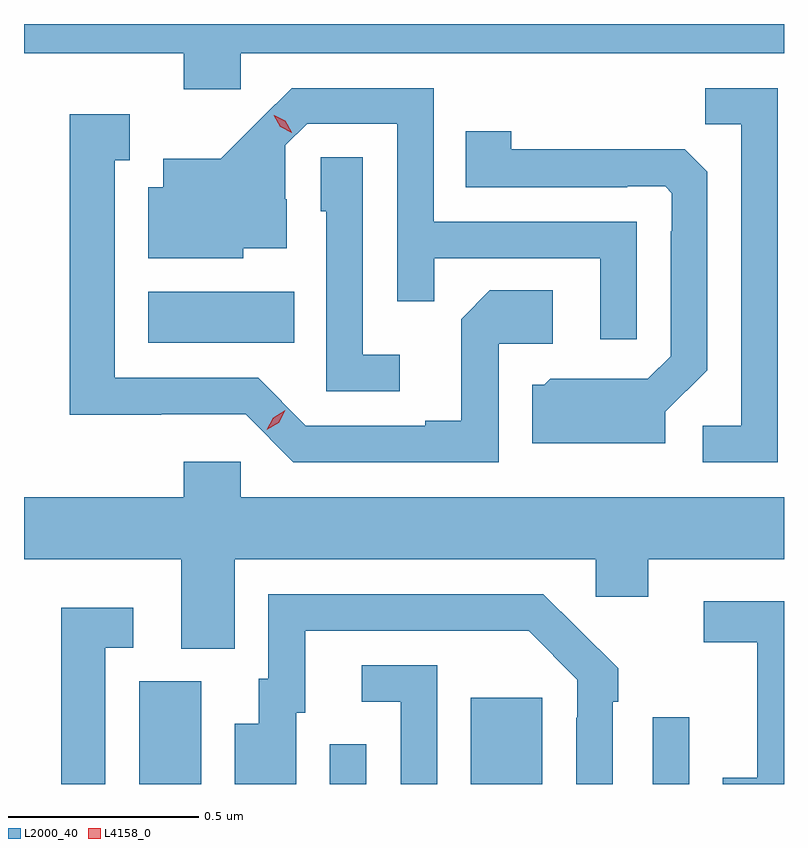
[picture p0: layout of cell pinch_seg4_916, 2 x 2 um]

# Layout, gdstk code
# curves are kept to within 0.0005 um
import gdstk
lib = gdstk.Library(unit=1e-6, precision=1e-09)
def R(c, l, rs):  # rectangles x0, y0, x1, y1
    for r in rs: c.add(gdstk.rectangle(r[:2], r[2:], *l))
def P(c, l, *ps):  # polygons
    for p in ps: c.add(gdstk.Polygon(p, *l))
L2000_40 = (2000, 40)
L4158_0 = (4158, 0)

pinch_seg4_916 = lib.new_cell('pinch_seg4_916')
R(pinch_seg4_916, L2000_40, [(754.508,824.201,754.672,824.472), (755.01,824.201,755.106,824.305), (755.381,824.201,755.569,824.428), (755.859,824.201,755.955,824.377), (754.532,825.362,754.916,825.496)])
P(pinch_seg4_916, L2000_40, [(754.776,826.124),(756.205,826.124),(756.205,826.201),(754.205,826.201),(754.205,826.124),(754.625,826.124),(754.625,826.029),(754.776,826.029)],
  [(756.189,826.032),(755.998,826.032),(755.998,825.937),(756.093,825.937),(756.093,825.144),(755.991,825.144),(755.991,825.048),(756.189,825.048)],
  [(755.817,825.681),(755.283,825.681),(755.283,826.032),(754.91,826.032),(754.723,825.847),(754.571,825.847),(754.571,825.771),(754.532,825.771),(754.532,825.584),(754.782,825.584),(754.782,825.611),(754.897,825.611),(754.897,825.74),(754.893,825.74),(754.893,825.882),(754.95,825.939),(755.187,825.939),(755.187,825.472),(755.285,825.472),(755.285,825.585),(755.721,825.585),(755.721,825.372),(755.817,825.372)],
  [(755.454,825.36),(755.596,825.36),(755.596,825.5),(755.431,825.5),(755.355,825.424),(755.355,825.157),(755.261,825.157),(755.261,825.144),(754.947,825.144),(754.821,825.27),(754.444,825.27),(754.444,825.843),(754.483,825.843),(754.483,825.964),(754.326,825.964),(754.326,825.173),(754.566,825.173),(754.566,825.174),(754.788,825.174),(754.914,825.048),(755.454,825.048)],
  [(755.893,825.18),(756.003,825.29),(756.003,825.812),(755.944,825.871),(755.843,825.871),(755.843,825.872),(755.487,825.872),(755.487,825.919),(755.368,825.919),(755.368,825.771),(755.792,825.771),(755.792,825.774),(755.892,825.774),(755.91,825.756),(755.91,825.656),(755.907,825.656),(755.907,825.327),(755.847,825.267),(755.724,825.267),(755.724,825.268),(755.59,825.268),(755.574,825.252),(755.543,825.252),(755.543,825.098),(755.893,825.098)],
  [(755.194,825.331),(755.097,825.331),(755.097,825.851),(754.986,825.851),(754.986,825.708),(755.001,825.708),(755.001,825.234),(755.194,825.234)],
  [(754.759,824.792),(755.709,824.792),(755.709,824.694),(755.848,824.694),(755.848,824.792),(756.205,824.792),(756.205,824.956),(754.776,824.956),(754.776,825.049),(754.625,825.049),(754.625,824.956),(754.205,824.956),(754.205,824.792),(754.619,824.792),(754.619,824.557),(754.759,824.557)],
  [(754.921,824.388),(754.945,824.388),(754.945,824.604),(755.533,824.604),(755.661,824.475),(755.661,824.375),(755.658,824.375),(755.658,824.201),(755.754,824.201),(755.754,824.417),(755.769,824.417),(755.769,824.505),(755.664,824.61),(755.663,824.609),(755.572,824.7),(754.848,824.7),(754.848,824.478),(754.823,824.478),(754.823,824.359),(754.76,824.359),(754.76,824.201),(754.921,824.201)],
  [(756.205,824.682),(755.994,824.682),(755.994,824.574),(756.134,824.574),(756.134,824.218),(756.044,824.218),(756.044,824.201),(756.205,824.201)],
  [(754.419,824.559),(754.492,824.559),(754.492,824.665),(754.303,824.665),(754.303,824.201),(754.419,824.201)],
  [(755.292,824.514),(755.094,824.514),(755.094,824.418),(755.196,824.418),(755.196,824.201),(755.292,824.201)])
P(pinch_seg4_916, L4158_0, [(754.91,825.915),(754.879,825.931),(754.862,825.961),(754.862,825.961),(754.863,825.961),(754.893,825.946),(754.91,825.916),(754.91,825.915)],
  [(754.844,825.133),(754.844,825.133),(754.861,825.165),(754.893,825.184),(754.893,825.184),(754.893,825.184),(754.876,825.152),(754.844,825.133)])

lib.write_gds('pinch_seg4_916.gds')
